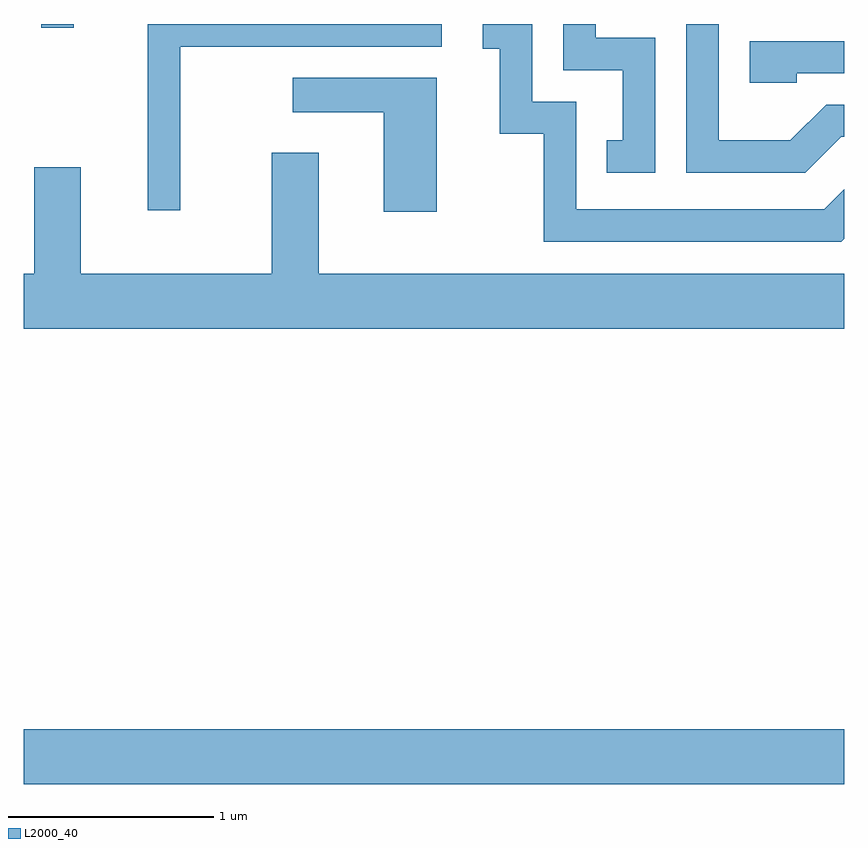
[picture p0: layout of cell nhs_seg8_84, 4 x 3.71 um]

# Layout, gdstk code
import gdstk
lib = gdstk.Library(unit=1e-6, precision=1e-09)
def R(c, l, rs):  # rectangles x0, y0, x1, y1
    for r in rs: c.add(gdstk.rectangle(r[:2], r[2:], *l))
def P(c, l, *ps):  # polygons
    for p in ps: c.add(gdstk.Polygon(p, *l))
L2000_40 = (2000, 40)

nhs_seg8_84 = lib.new_cell('nhs_seg8_84')
R(nhs_seg8_84, L2000_40, [(187.611,1838.636,191.611,1838.904), (187.696,1842.323,187.854,1842.342)])
P(nhs_seg8_84, L2000_40, [(191.611,1841.295),(191.611,1841.536),(191.514,1841.439),(190.304,1841.439),(190.304,1841.964),(190.089,1841.964),(190.089,1842.342),(189.848,1842.342),(189.848,1842.221),(189.931,1842.221),(189.931,1841.806),(190.146,1841.806),(190.146,1841.281),(191.597,1841.281)],
  [(188.374,1842.231),(189.648,1842.231),(189.648,1842.342),(188.216,1842.342),(188.216,1841.433),(188.374,1841.433)],
  [(191.597,1841.791),(191.611,1841.791),(191.611,1841.949),(191.524,1841.949),(191.349,1841.774),(190.999,1841.774),(190.999,1842.342),(190.841,1842.342),(190.841,1841.616),(191.422,1841.616)],
  [(190.689,1842.274),(190.399,1842.274),(190.399,1842.342),(190.241,1842.342),(190.241,1842.116),(190.531,1842.116),(190.531,1841.774),(190.453,1841.774),(190.453,1841.616),(190.689,1841.616)],
  [(191.379,1842.101),(191.611,1842.101),(191.611,1842.259),(191.151,1842.259),(191.151,1842.056),(191.379,1842.056)],
  [(189.624,1842.079),(188.923,1842.079),(188.923,1841.911),(189.366,1841.911),(189.366,1841.426),(189.624,1841.426)],
  [(191.611,1841.124),(189.049,1841.124),(189.049,1841.714),(188.821,1841.714),(188.821,1841.124),(187.889,1841.124),(187.889,1841.644),(187.661,1841.644),(187.661,1841.124),(187.611,1841.124),(187.611,1840.856),(191.611,1840.856)])

lib.write_gds('nhs_seg8_84.gds')
